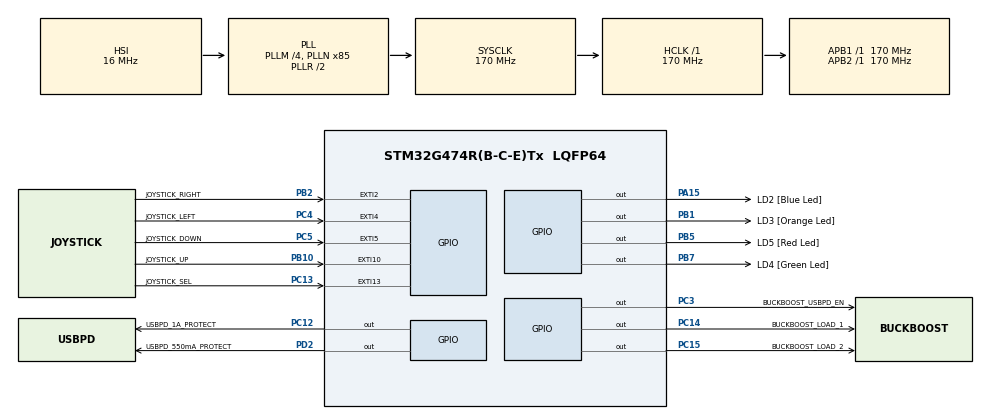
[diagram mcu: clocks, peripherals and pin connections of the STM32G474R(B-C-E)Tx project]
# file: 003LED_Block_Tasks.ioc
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Mcu.Family=STM32G4
Mcu.Name=STM32G474R(B-C-E)Tx
Mcu.Package=LQFP64
NVIC.EXTI15_10_IRQn=true\:0\:0\:false\:false\:true\:true\:true\:true
NVIC.EXTI2_IRQn=true\:0\:0\:false\:false\:true\:true\:true\:true
NVIC.EXTI4_IRQn=true\:0\:0\:false\:false\:true\:true\:true\:true
NVIC.EXTI9_5_IRQn=true\:0\:0\:false\:false\:true\:true\:true\:true
NVIC.PriorityGroup=NVIC_PRIORITYGROUP_4
NVIC.TIM6_DAC_IRQn=true\:15\:0\:false\:false\:true\:false\:true\:true
NVIC.TimeBase=TIM6_DAC_IRQn
NVIC.TimeBaseIP=TIM6
PA0.GPIO_Label=BUCK_GREEN_SENSE
PA0.Signal=COMP3_INP
PA1.GPIO_Label=BUCKBOOST_VIN
PA1.Signal=ADC1_IN2
PA10.Signal=UCPD1_DBCC2
PA11.Signal=USB_DM
PA12.Signal=USB_DP
PA13.Mode=Serial_Wire
PA13.Signal=SYS_JTMS-SWDIO
PA14.Mode=Serial_Wire
PA14.Signal=SYS_JTCK-SWCLK
PA15.GPIO_Label=LD2 [Blue Led]
PA15.Signal=GPIO_Output
PA2.GPIO_Label=BUCKBOOST_I_IN_AVG
PA2.Signal=ADC1_IN3
PA3.GPIO_Label=BUCKBOOST_VOUT
PA3.Signal=ADC1_IN4
PA7.GPIO_Label=BUCK_RED_SENSE
PA7.Signal=COMP2_INP
PA8.GPIO_Label=BUCK_BLUE_DRIVE
PA8.Signal=HRTIM1_CHA1
PA9.Signal=UCPD1_DBCC1
PB0.GPIO_Label=BUCK_BLUE_SENSE
PB0.Signal=COMP4_INP
PB1.GPIO_Label=LD3 [Orange Led]
PB1.Signal=GPIO_Output
PB10.GPIO_Label=JOYSTICK_UP
PB10.GPIO_PuPd=GPIO_PULLUP
PB10.Signal=GPXTI10
PB11.GPIO_Label=BUCKBOOST_I_IN_SENSE
PB11.Signal=COMP6_INP
PB12.GPIO_Label=BUCKBOOST_P1_DRIVE
PB12.Signal=HRTIM1_CHC1
PB13.GPIO_Label=BUCKBOOST_N1_DRIVE
PB13.Signal=HRTIM1_CHC2
PB14.GPIO_Label=BUCKBOOST_N2_DRIVE
PB14.Signal=HRTIM1_CHD1
PB15.GPIO_Label=BUCKBOOST_P2_DRIVE
PB15.Signal=HRTIM1_CHD2
PB2.GPIO_Label=JOYSTICK_RIGHT
PB2.GPIO_PuPd=GPIO_PULLUP
PB2.Signal=GPXTI2
PB3.Signal=SYS_JTDO-SWO
PB4.Signal=UCPD1_CC2
PB5.GPIO_Label=LD5 [Red Led]
PB5.Signal=GPIO_Output
PB6.Signal=UCPD1_CC1
PB7.GPIO_Label=LD4 [Green Led]
PB7.Signal=GPIO_Output
PC10.GPIO_Label=USART3_TX[STLINK_TX]
PC10.GPIO_Speed=GPIO_SPEED_FREQ_MEDIUM
PC10.Signal=USART3_TX
PC11.GPIO_Label=USART3_RX[STLINK_RX]
PC11.GPIO_Speed=GPIO_SPEED_FREQ_MEDIUM
PC11.Signal=USART3_RX
PC12.GPIO_Label=USBPD_1A_PROTECT
PC12.Signal=GPIO_Output
PC13.GPIO_Label=JOYSTICK_SEL
PC13.GPIO_PuPd=GPIO_PULLUP
PC13.Signal=GPXTI13
PC14-OSC32_IN.GPIO_Label=BUCKBOOST_LOAD_1
PC14-OSC32_IN.Signal=GPIO_Output
PC15-OSC32_OUT.GPIO_Label=BUCKBOOST_LOAD_2
PC15-OSC32_OUT.Signal=GPIO_Output
PC2.GPIO_Label=USBPD_VIN
PC2.Signal=ADC1_IN8
PC3.GPIO_Label=BUCKBOOST_USBPD_EN
PC3.Signal=GPIO_Output
PC4.GPIO_Label=JOYSTICK_LEFT
PC4.GPIO_PuPd=GPIO_PULLUP
PC4.Signal=GPXTI4
PC5.GPIO_Label=JOYSTICK_DOWN
PC5.GPIO_PuPd=GPIO_PULLUP
PC5.Signal=GPXTI5
PC6.GPIO_Label=BUCK_RED_DRIVE
PC6.Signal=HRTIM1_CHF1
PC7.GPIO_Label=RC_TP4
PC7.Signal=HRTIM1_CHF2
PC8.GPIO_Label=BUCK_GREEN_DRIVE
PC8.Signal=HRTIM1_CHE1
PD2.GPIO_Label=USBPD_550mA_PROTECT
PD2.Signal=GPIO_Output
ProjectManager.HeapSize=0x200
ProjectManager.StackSize=0x400
ProjectManager.TargetToolchain=STM32CubeIDE
RCC.ADC12Freq_Value=170000000
RCC.ADC345Freq_Value=170000000
RCC.AHBFreq_Value=170000000
RCC.APB1Freq_Value=170000000
RCC.APB1TimFreq_Value=170000000
RCC.APB2Freq_Value=170000000
RCC.APB2TimFreq_Value=170000000
RCC.CK48CLockSelection=RCC_USBCLKSOURCE_HSI48
RCC.CortexFreq_Value=170000000
RCC.EXTERNAL_CLOCK_VALUE=12288000
RCC.HCLKFreq_Value=170000000
RCC.HSE_VALUE=8000000
RCC.HSI48_VALUE=48000000
RCC.HSI_VALUE=16000000
RCC.LSE_VALUE=32768
RCC.PLLM=RCC_PLLM_DIV4
RCC.PLLN=85
RCC.PLLP=RCC_PLLP_DIV8
RCC.PLLQ=RCC_PLLQ_DIV8
RCC.SYSCLKFreq_VALUE=170000000
RCC.SYSCLKSource=RCC_SYSCLKSOURCE_PLLCLK
RCC.USBFreq_Value=48000000
RCC.VCOOutputFreq_Value=340000000
VP_SYS_VS_tim6.Mode=TIM6
board=B-G474E-DPOW1

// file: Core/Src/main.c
/* USER CODE BEGIN Header */
/**
  ******************************************************************************
  * @file           : main.c
  * @brief          : Main program body
  ******************************************************************************
  * @attention
  *
  * Copyright (c) 2023 STMicroelectronics.
  * All rights reserved.
  *
  * This software is licensed under terms that can be found in the LICENSE file
  * in the root directory of this software component.
  * If no LICENSE file comes with this software, it is provided AS-IS.
  *
  ******************************************************************************
  */
/* USER CODE END Header */
#include "main.h"

/* USER CODE BEGIN Includes */
#include <stdio.h>
#include <FreeRTOS.h>
#include <task.h>
/* USER CODE END Includes */

/* USER CODE BEGIN PD */
#define led_red			LD5_Pin
#define led_red_gpio	LD5_GPIO_Port
#define led_green		LD4_Pin
#define led_green_gpio	LD4_GPIO_Port
#define led_blue		LD2_Pin
#define led_blue_gpio	LD2_GPIO_Port
/* USER CODE END PD */

/* USER CODE BEGIN PV */
#define DWT_CTRL	(*(volatile uint32_t*)0xE0001000)		// DWT_CTRL register
/* USER CODE END PV */

void SystemClock_Config(void);
static void MX_GPIO_Init(void);
/* USER CODE BEGIN PFP */
static void led_red_handler(void*);
static void led_green_handler(void*);
static void led_blue_handler(void*);

extern void SEGGER_UART_init(uint32_t);
/* USER CODE END PFP */

int main(void)
{
  /* USER CODE BEGIN 1 */
  TaskHandle_t led_blue_task;
  TaskHandle_t led_green_task;
  TaskHandle_t led_red_task;
  BaseType_t status;
  /* USER CODE END 1 */

  /* MCU Configuration--------------------------------------------------------*/

  /* Reset of all peripherals, Initializes the Flash interface and the Systick. */
  HAL_Init();

  /* Configure the system clock */
  SystemClock_Config();

  /* Initialize all configured peripherals */
  MX_GPIO_Init();
  /* USER CODE BEGIN 2 */

  // SEGGER UART recording
  SEGGER_UART_init(500000);

  // Enable the CYCCNT register by setting the 0th bit
  // This is to allow the SEGGER systemview to record time stamps of events
  DWT_CTRL |= (1<<0);

  // Configure and start the SEGGER systemview recording
  SEGGER_SYSVIEW_Conf();
  //SEGGER_SYSVIEW_Start();

  // Create the FreeRTOS leds toggling tasks
  status = xTaskCreate(led_red_handler, "LED_red_task", 200, NULL, 2, &led_red_task);
  configASSERT(status == pdPASS);
  status = xTaskCreate(led_green_handler, "LED_green_task", 200, NULL, 2, &led_green_task);
  configASSERT(status == pdPASS);
  status = xTaskCreate(led_blue_handler, "LED_blue_task", 200, NULL, 2, &led_blue_task);
  configASSERT(status == pdPASS);

  // Start the FreeRTOS scheduler
  vTaskStartScheduler();

  /* USER CODE END 2 */

  /* Infinite loop */
  while (1)
  {

  }
}

void SystemClock_Config(void)
{
  RCC_OscInitTypeDef RCC_OscInitStruct = {0};
  RCC_ClkInitTypeDef RCC_ClkInitStruct = {0};

  /** Configure the main internal regulator output voltage
  */
  HAL_PWREx_ControlVoltageScaling(PWR_REGULATOR_VOLTAGE_SCALE1_BOOST);

  /** Initializes the RCC Oscillators according to the specified parameters
  * in the RCC_OscInitTypeDef structure.
  */
  RCC_OscInitStruct.OscillatorType = RCC_OSCILLATORTYPE_HSI;
  RCC_OscInitStruct.HSIState = RCC_HSI_ON;
  RCC_OscInitStruct.HSICalibrationValue = RCC_HSICALIBRATION_DEFAULT;
  RCC_OscInitStruct.PLL.PLLState = RCC_PLL_ON;
  RCC_OscInitStruct.PLL.PLLSource = RCC_PLLSOURCE_HSI;
  RCC_OscInitStruct.PLL.PLLM = RCC_PLLM_DIV4;
  RCC_OscInitStruct.PLL.PLLN = 85;
  RCC_OscInitStruct.PLL.PLLP = RCC_PLLP_DIV8;
  RCC_OscInitStruct.PLL.PLLQ = RCC_PLLQ_DIV8;
  RCC_OscInitStruct.PLL.PLLR = RCC_PLLR_DIV2;
  if (HAL_RCC_OscConfig(&RCC_OscInitStruct) != HAL_OK)
  {
    Error_Handler();
  }

  /** Initializes the CPU, AHB and APB buses clocks
  */
  RCC_ClkInitStruct.ClockType = RCC_CLOCKTYPE_HCLK|RCC_CLOCKTYPE_SYSCLK
                              |RCC_CLOCKTYPE_PCLK1|RCC_CLOCKTYPE_PCLK2;
  RCC_ClkInitStruct.SYSCLKSource = RCC_SYSCLKSOURCE_PLLCLK;
  RCC_ClkInitStruct.AHBCLKDivider = RCC_SYSCLK_DIV1;
  RCC_ClkInitStruct.APB1CLKDivider = RCC_HCLK_DIV1;
  RCC_ClkInitStruct.APB2CLKDivider = RCC_HCLK_DIV1;

  if (HAL_RCC_ClockConfig(&RCC_ClkInitStruct, FLASH_LATENCY_4) != HAL_OK)
  {
    Error_Handler();
  }
}

static void MX_GPIO_Init(void)
{
  GPIO_InitTypeDef GPIO_InitStruct = {0};

  /* GPIO Ports Clock Enable */
  __HAL_RCC_GPIOC_CLK_ENABLE();
  __HAL_RCC_GPIOA_CLK_ENABLE();
  __HAL_RCC_GPIOB_CLK_ENABLE();
  __HAL_RCC_GPIOD_CLK_ENABLE();

  /*Configure GPIO pin Output Level */
  HAL_GPIO_WritePin(GPIOC, BUCKBOOST_LOAD_1_Pin|BUCKBOOST_LOAD_2_Pin|BUCKBOOST_USBPD_EN_Pin|USBPD_1A_PROTECT_Pin, GPIO_PIN_RESET);

  /*Configure GPIO pin Output Level */
  HAL_GPIO_WritePin(GPIOB, LD3_Pin|LD5_Pin|LD4_Pin, GPIO_PIN_RESET);

  /*Configure GPIO pin Output Level */
  HAL_GPIO_WritePin(LD2_GPIO_Port, LD2_Pin, GPIO_PIN_RESET);

  /*Configure GPIO pin Output Level */
  HAL_GPIO_WritePin(USBPD_550mA_PROTECT_GPIO_Port, USBPD_550mA_PROTECT_Pin, GPIO_PIN_RESET);

  /*Configure GPIO pins : JOYSTICK_SEL_Pin JOYSTICK_LEFT_Pin JOYSTICK_DOWN_Pin */
  GPIO_InitStruct.Pin = JOYSTICK_SEL_Pin|JOYSTICK_LEFT_Pin|JOYSTICK_DOWN_Pin;
  GPIO_InitStruct.Mode = GPIO_MODE_IT_RISING;
  GPIO_InitStruct.Pull = GPIO_PULLUP;
  HAL_GPIO_Init(GPIOC, &GPIO_InitStruct);

  /*Configure GPIO pins : BUCKBOOST_LOAD_1_Pin BUCKBOOST_LOAD_2_Pin BUCKBOOST_USBPD_EN_Pin USBPD_1A_PROTECT_Pin */
  GPIO_InitStruct.Pin = BUCKBOOST_LOAD_1_Pin|BUCKBOOST_LOAD_2_Pin|BUCKBOOST_USBPD_EN_Pin|USBPD_1A_PROTECT_Pin;
  GPIO_InitStruct.Mode = GPIO_MODE_OUTPUT_PP;
  GPIO_InitStruct.Pull = GPIO_NOPULL;
  GPIO_InitStruct.Speed = GPIO_SPEED_FREQ_LOW;
  HAL_GPIO_Init(GPIOC, &GPIO_InitStruct);

  /*Configure GPIO pin : USBPD_VIN_Pin */
  GPIO_InitStruct.Pin = USBPD_VIN_Pin;
  GPIO_InitStruct.Mode = GPIO_MODE_ANALOG;
  GPIO_InitStruct.Pull = GPIO_NOPULL;
  HAL_GPIO_Init(USBPD_VIN_GPIO_Port, &GPIO_InitStruct);

  /*Configure GPIO pins : BUCK_GREEN_SENSE_Pin BUCKBOOST_VIN_Pin BUCKBOOST_I_IN_AVG_Pin BUCKBOOST_VOUT_Pin
                           BUCK_RED_SENSE_Pin */
  GPIO_InitStruct.Pin = BUCK_GREEN_SENSE_Pin|BUCKBOOST_VIN_Pin|BUCKBOOST_I_IN_AVG_Pin|BUCKBOOST_VOUT_Pin
                          |BUCK_RED_SENSE_Pin;
  GPIO_InitStruct.Mode = GPIO_MODE_ANALOG;
  GPIO_InitStruct.Pull = GPIO_NOPULL;
  HAL_GPIO_Init(GPIOA, &GPIO_InitStruct);

  /*Configure GPIO pins : BUCK_BLUE_SENSE_Pin BUCKBOOST_I_IN_SENSE_Pin PB4 PB6 */
  GPIO_InitStruct.Pin = BUCK_BLUE_SENSE_Pin|BUCKBOOST_I_IN_SENSE_Pin|GPIO_PIN_4|GPIO_PIN_6;
  GPIO_InitStruct.Mode = GPIO_MODE_ANALOG;
  GPIO_InitStruct.Pull = GPIO_NOPULL;
  HAL_GPIO_Init(GPIOB, &GPIO_InitStruct);

  /*Configure GPIO pins : LD3_Pin LD5_Pin LD4_Pin */
  GPIO_InitStruct.Pin = LD3_Pin|LD5_Pin|LD4_Pin;
  GPIO_InitStruct.Mode = GPIO_MODE_OUTPUT_PP;
  GPIO_InitStruct.Pull = GPIO_NOPULL;
  GPIO_InitStruct.Speed = GPIO_SPEED_FREQ_LOW;
  HAL_GPIO_Init(GPIOB, &GPIO_InitStruct);

  /*Configure GPIO pins : JOYSTICK_RIGHT_Pin JOYSTICK_UP_Pin */
  GPIO_InitStruct.Pin = JOYSTICK_RIGHT_Pin|JOYSTICK_UP_Pin;
  GPIO_InitStruct.Mode = GPIO_MODE_IT_RISING;
  GPIO_InitStruct.Pull = GPIO_PULLUP;
  HAL_GPIO_Init(GPIOB, &GPIO_InitStruct);

  /*Configure GPIO pins : BUCKBOOST_P1_DRIVE_Pin BUCKBOOST_N1_DRIVE_Pin BUCKBOOST_N2_DRIVE_Pin BUCKBOOST_P2_DRIVE_Pin */
  GPIO_InitStruct.Pin = BUCKBOOST_P1_DRIVE_Pin|BUCKBOOST_N1_DRIVE_Pin|BUCKBOOST_N2_DRIVE_Pin|BUCKBOOST_P2_DRIVE_Pin;
  GPIO_InitStruct.Mode = GPIO_MODE_AF_PP;
  GPIO_InitStruct.Pull = GPIO_NOPULL;
  GPIO_InitStruct.Speed = GPIO_SPEED_FREQ_VERY_HIGH;
  GPIO_InitStruct.Alternate = GPIO_AF13_HRTIM1;
  HAL_GPIO_Init(GPIOB, &GPIO_InitStruct);

  /*Configure GPIO pins : BUCK_RED_DRIVE_Pin RC_TP4_Pin */
  GPIO_InitStruct.Pin = BUCK_RED_DRIVE_Pin|RC_TP4_Pin;
  GPIO_InitStruct.Mode = GPIO_MODE_AF_PP;
  GPIO_InitStruct.Pull = GPIO_NOPULL;
  GPIO_InitStruct.Speed = GPIO_SPEED_FREQ_VERY_HIGH;
  GPIO_InitStruct.Alternate = GPIO_AF13_HRTIM1;
  HAL_GPIO_Init(GPIOC, &GPIO_InitStruct);

  /*Configure GPIO pin : BUCK_GREEN_DRIVE_Pin */
  GPIO_InitStruct.Pin = BUCK_GREEN_DRIVE_Pin;
  GPIO_InitStruct.Mode = GPIO_MODE_AF_PP;
  GPIO_InitStruct.Pull = GPIO_NOPULL;
  GPIO_InitStruct.Speed = GPIO_SPEED_FREQ_VERY_HIGH;
  GPIO_InitStruct.Alternate = GPIO_AF3_HRTIM1;
  HAL_GPIO_Init(BUCK_GREEN_DRIVE_GPIO_Port, &GPIO_InitStruct);

  /*Configure GPIO pin : BUCK_BLUE_DRIVE_Pin */
  GPIO_InitStruct.Pin = BUCK_BLUE_DRIVE_Pin;
  GPIO_InitStruct.Mode = GPIO_MODE_AF_PP;
  GPIO_InitStruct.Pull = GPIO_NOPULL;
  GPIO_InitStruct.Speed = GPIO_SPEED_FREQ_VERY_HIGH;
  GPIO_InitStruct.Alternate = GPIO_AF13_HRTIM1;
  HAL_GPIO_Init(BUCK_BLUE_DRIVE_GPIO_Port, &GPIO_InitStruct);

  /*Configure GPIO pin : LD2_Pin */
  GPIO_InitStruct.Pin = LD2_Pin;
  GPIO_InitStruct.Mode = GPIO_MODE_OUTPUT_PP;
  GPIO_InitStruct.Pull = GPIO_NOPULL;
  GPIO_InitStruct.Speed = GPIO_SPEED_FREQ_LOW;
  HAL_GPIO_Init(LD2_GPIO_Port, &GPIO_InitStruct);

  /*Configure GPIO pins : USART3_TX_Pin USART3_RX_Pin */
  GPIO_InitStruct.Pin = USART3_TX_Pin|USART3_RX_Pin;
  GPIO_InitStruct.Mode = GPIO_MODE_AF_PP;
  GPIO_InitStruct.Pull = GPIO_NOPULL;
  GPIO_InitStruct.Speed = GPIO_SPEED_FREQ_MEDIUM;
  GPIO_InitStruct.Alternate = GPIO_AF7_USART3;
  HAL_GPIO_Init(GPIOC, &GPIO_InitStruct);

  /*Configure GPIO pin : USBPD_550mA_PROTECT_Pin */
  GPIO_InitStruct.Pin = USBPD_550mA_PROTECT_Pin;
  GPIO_InitStruct.Mode = GPIO_MODE_OUTPUT_PP;
  GPIO_InitStruct.Pull = GPIO_NOPULL;
  GPIO_InitStruct.Speed = GPIO_SPEED_FREQ_LOW;
  HAL_GPIO_Init(USBPD_550mA_PROTECT_GPIO_Port, &GPIO_InitStruct);

  /* EXTI interrupt init*/
  HAL_NVIC_SetPriority(EXTI2_IRQn, 0, 0);
  HAL_NVIC_EnableIRQ(EXTI2_IRQn);

  HAL_NVIC_SetPriority(EXTI4_IRQn, 0, 0);
  HAL_NVIC_EnableIRQ(EXTI4_IRQn);

  HAL_NVIC_SetPriority(EXTI9_5_IRQn, 0, 0);
  HAL_NVIC_EnableIRQ(EXTI9_5_IRQn);

  HAL_NVIC_SetPriority(EXTI15_10_IRQn, 0, 0);
  HAL_NVIC_EnableIRQ(EXTI15_10_IRQn);

}

/* USER CODE BEGIN 4 */
static void led_red_handler(void* parameters)
{
	TickType_t last_wakeup_time;
	last_wakeup_time = xTaskGetTickCount();

	while(1)
	{
		SEGGER_SYSVIEW_PrintfTarget("Toggling red LED");
		HAL_GPIO_TogglePin(led_red_gpio, led_red);
		//vTaskDelay(pdMS_TO_TICKS(1000));
		vTaskDelayUntil(&last_wakeup_time,pdMS_TO_TICKS(400));
	}
}

static void led_green_handler(void* parameters)
{
	TickType_t last_wakeup_time;
	last_wakeup_time = xTaskGetTickCount();

	while(1)
	{
		SEGGER_SYSVIEW_PrintfTarget("Toggling green LED");
		HAL_GPIO_TogglePin(led_green_gpio, led_green);
		//vTaskDelay(pdMS_TO_TICKS(800));
		vTaskDelayUntil(&last_wakeup_time,pdMS_TO_TICKS(300));
	}
}

static void led_blue_handler(void* parameters)
{
	TickType_t last_wakeup_time;
	last_wakeup_time = xTaskGetTickCount();

	while(1)
	{
		SEGGER_SYSVIEW_PrintfTarget("Toggling blue LED");
		HAL_GPIO_TogglePin(led_blue_gpio, led_blue);
		//vTaskDelay(pdMS_TO_TICKS(400));
		vTaskDelayUntil(&last_wakeup_time,pdMS_TO_TICKS(200));
	}
}
/* USER CODE END 4 */

void HAL_TIM_PeriodElapsedCallback(TIM_HandleTypeDef *htim)
{
  if (htim->Instance == TIM6) {
    HAL_IncTick();
  }
}

void Error_Handler(void)
{
  __disable_irq();
  while (1)
  {
  }
}
